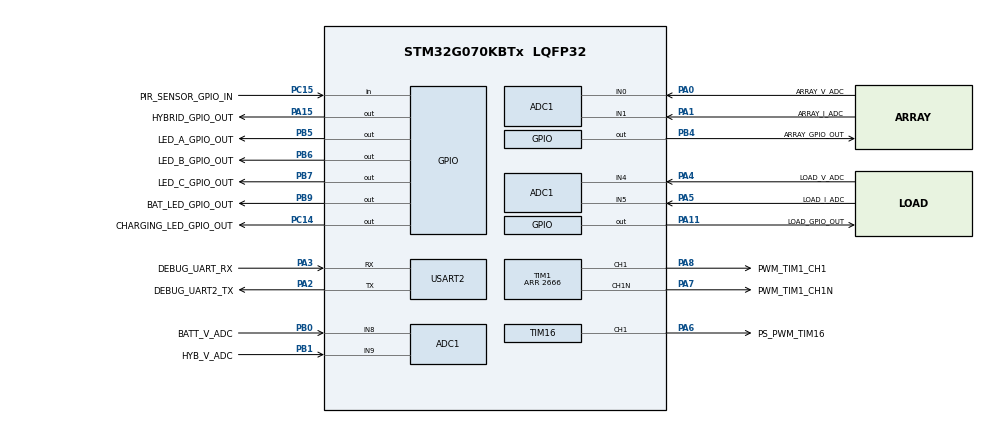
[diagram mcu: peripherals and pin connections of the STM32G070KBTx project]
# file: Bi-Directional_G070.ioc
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ADC1.ClockPrescaler=ADC_CLOCK_SYNC_PCLK_DIV4
ADC1.DMAContinuousRequests=ENABLE
ADC1.ExternalTrigConv=ADC_EXTERNALTRIG_T3_TRGO
ADC1.NbrOfConversion=1
ADC1.NbrOfConversionFlag=0
ADC1.SamplingTimeCommon1=ADC_SAMPLETIME_39CYCLES_5
ADC1.SelectedChannel=ADC_CHANNEL_0|ADC_CHANNEL_1|ADC_CHANNEL_4|ADC_CHANNEL_5|ADC_CHANNEL_8|ADC_CHANNEL_9
ADC1.Sequencer=NOT_FULLY_CONFIGURABLE
ADC1.master=1
Dma.ADC1.2.Direction=DMA_PERIPH_TO_MEMORY
Dma.ADC1.2.EventEnable=DISABLE
Dma.ADC1.2.Instance=DMA1_Channel3
Dma.ADC1.2.MemDataAlignment=DMA_MDATAALIGN_HALFWORD
Dma.ADC1.2.MemInc=DMA_MINC_ENABLE
Dma.ADC1.2.Mode=DMA_CIRCULAR
Dma.ADC1.2.PeriphDataAlignment=DMA_PDATAALIGN_HALFWORD
Dma.ADC1.2.PeriphInc=DMA_PINC_DISABLE
Dma.ADC1.2.Polarity=HAL_DMAMUX_REQ_GEN_RISING
Dma.ADC1.2.Priority=DMA_PRIORITY_LOW
Dma.ADC1.2.RequestNumber=1
Dma.ADC1.2.SignalID=NONE
Dma.ADC1.2.SyncEnable=DISABLE
Dma.ADC1.2.SyncPolarity=HAL_DMAMUX_SYNC_NO_EVENT
Dma.ADC1.2.SyncRequestNumber=1
Dma.ADC1.2.SyncSignalID=NONE
Dma.Request0=USART2_RX
Dma.Request1=USART2_TX
Dma.Request2=ADC1
Dma.USART2_RX.0.Direction=DMA_PERIPH_TO_MEMORY
Dma.USART2_RX.0.EventEnable=DISABLE
Dma.USART2_RX.0.Instance=DMA1_Channel1
Dma.USART2_RX.0.MemDataAlignment=DMA_MDATAALIGN_BYTE
Dma.USART2_RX.0.MemInc=DMA_MINC_ENABLE
Dma.USART2_RX.0.Mode=DMA_CIRCULAR
Dma.USART2_RX.0.PeriphDataAlignment=DMA_PDATAALIGN_BYTE
Dma.USART2_RX.0.PeriphInc=DMA_PINC_DISABLE
Dma.USART2_RX.0.Polarity=HAL_DMAMUX_REQ_GEN_RISING
Dma.USART2_RX.0.Priority=DMA_PRIORITY_LOW
Dma.USART2_RX.0.RequestNumber=1
Dma.USART2_RX.0.SignalID=NONE
Dma.USART2_RX.0.SyncEnable=DISABLE
Dma.USART2_RX.0.SyncPolarity=HAL_DMAMUX_SYNC_NO_EVENT
Dma.USART2_RX.0.SyncRequestNumber=1
Dma.USART2_RX.0.SyncSignalID=NONE
Dma.USART2_TX.1.Direction=DMA_MEMORY_TO_PERIPH
Dma.USART2_TX.1.EventEnable=DISABLE
Dma.USART2_TX.1.Instance=DMA1_Channel2
Dma.USART2_TX.1.MemDataAlignment=DMA_MDATAALIGN_BYTE
Dma.USART2_TX.1.MemInc=DMA_MINC_ENABLE
Dma.USART2_TX.1.Mode=DMA_NORMAL
Dma.USART2_TX.1.PeriphDataAlignment=DMA_PDATAALIGN_BYTE
Dma.USART2_TX.1.PeriphInc=DMA_PINC_DISABLE
Dma.USART2_TX.1.Polarity=HAL_DMAMUX_REQ_GEN_RISING
Dma.USART2_TX.1.Priority=DMA_PRIORITY_LOW
Dma.USART2_TX.1.RequestNumber=1
Dma.USART2_TX.1.SignalID=NONE
Dma.USART2_TX.1.SyncEnable=DISABLE
Dma.USART2_TX.1.SyncPolarity=HAL_DMAMUX_SYNC_NO_EVENT
Dma.USART2_TX.1.SyncRequestNumber=1
Dma.USART2_TX.1.SyncSignalID=NONE
IWDG.Prescaler=IWDG_PRESCALER_64
Mcu.Family=STM32G0
Mcu.Name=STM32G070KBTx
Mcu.Package=LQFP32
NVIC.DMA1_Channel1_IRQn=true\:1\:0\:true\:false\:true\:false\:true\:true
NVIC.DMA1_Channel2_3_IRQn=true\:2\:0\:true\:false\:true\:false\:true\:true
PA0.GPIO_Label=ARRAY_V_ADC
PA0.Mode=IN0
PA0.Signal=ADC1_IN0
PA1.GPIO_Label=ARRAY_I_ADC
PA1.Mode=IN1
PA1.Signal=ADC1_IN1
PA11\ [PA9].GPIO_Label=LOAD_GPIO_OUT
PA11\ [PA9].PinState=GPIO_PIN_SET
PA11\ [PA9].Signal=GPIO_Output
PA15.GPIO_Label=HYBRID_GPIO_OUT
PA15.PinState=GPIO_PIN_SET
PA15.Signal=GPIO_Output
PA2.GPIO_Label=DEBUG_UART2_TX
PA2.Mode=Asynchronous
PA2.Signal=USART2_TX
PA3.GPIO_Label=DEBUG_UART_RX
PA3.Mode=Asynchronous
PA3.Signal=USART2_RX
PA4.GPIO_Label=LOAD_V_ADC
PA4.Mode=IN4
PA4.Signal=ADC1_IN4
PA5.GPIO_Label=LOAD_I_ADC
PA5.Mode=IN5
PA5.Signal=ADC1_IN5
PA6.GPIO_Label=PS_PWM_TIM16
PA6.Signal=S_TIM16_CH1
PA7.GPIO_Label=PWM_TIM1_CH1N
PA7.Mode=PWM Generation1 CH1 CH1N
PA7.Signal=TIM1_CH1N
PA8.GPIO_Label=PWM_TIM1_CH1
PA8.Signal=S_TIM1_CH1
PB0.GPIO_Label=BATT_V_ADC
PB0.Mode=IN8
PB0.Signal=ADC1_IN8
PB1.GPIO_Label=HYB_V_ADC
PB1.Mode=IN9
PB1.Signal=ADC1_IN9
PB4.GPIO_Label=ARRAY_GPIO_OUT
PB4.PinState=GPIO_PIN_SET
PB4.Signal=GPIO_Output
PB5.GPIO_Label=LED_A_GPIO_OUT
PB5.PinState=GPIO_PIN_SET
PB5.Signal=GPIO_Output
PB6.GPIO_Label=LED_B_GPIO_OUT
PB6.PinState=GPIO_PIN_SET
PB6.Signal=GPIO_Output
PB7.GPIO_Label=LED_C_GPIO_OUT
PB7.PinState=GPIO_PIN_SET
PB7.Signal=GPIO_Output
PB9.GPIO_Label=BAT_LED_GPIO_OUT
PB9.PinState=GPIO_PIN_SET
PB9.Signal=GPIO_Output
PC14-OSC32_IN\ (PC14).GPIO_Label=CHARGING_LED_GPIO_OUT
PC14-OSC32_IN\ (PC14).PinState=GPIO_PIN_SET
PC14-OSC32_IN\ (PC14).Signal=GPIO_Output
PC15-OSC32_OUT\ (PC15).GPIO_Label=PIR_SENSOR_GPIO_IN
PC15-OSC32_OUT\ (PC15).GPIO_PuPd=GPIO_PULLDOWN
PC15-OSC32_OUT\ (PC15).Signal=GPIO_Input
ProjectManager.HeapSize=0x200
ProjectManager.StackSize=0x400
ProjectManager.TargetToolchain=CMake
RCC.ADCFreq_Value=64000000
RCC.AHBFreq_Value=64000000
RCC.CortexFreq_Value=64000000
RCC.EXTERNAL_CLOCK_VALUE=48000
RCC.HCLKFreq_Value=64000000
RCC.HSE_VALUE=8000000
RCC.HSI_VALUE=16000000
RCC.LSE_VALUE=32768
RCC.SYSCLKFreq_VALUE=64000000
RCC.SYSCLKSource=RCC_SYSCLKSOURCE_PLLCLK
RCC.VCOOutputFreq_Value=128000000
SH.S_TIM16_CH1.0=TIM16_CH1,PWM Generation1 CH1
SH.S_TIM1_CH1.0=TIM1_CH1,PWM Generation1 CH1 CH1N
TIM1.AutoReloadPreload=TIM_AUTORELOAD_PRELOAD_ENABLE
TIM1.AutomaticOutput=TIM_AUTOMATICOUTPUT_ENABLE
TIM1.Break2Polarity=TIM_BREAK2POLARITY_HIGH
TIM1.Break2State=TIM_BREAK2_ENABLE
TIM1.BreakState=TIM_BREAK_ENABLE
TIM1.Channel-PWM\ Generation1\ CH1\ CH1N=TIM_CHANNEL_1
TIM1.DeadTime=83
TIM1.Period=2666
TIM16.AutoReloadPreload=TIM_AUTORELOAD_PRELOAD_ENABLE
TIM16.AutomaticOutput=TIM_AUTOMATICOUTPUT_ENABLE
TIM16.BreakState=TIM_BREAK_ENABLE
TIM16.Channel=TIM_CHANNEL_1
TIM16.Period=1599
TIM3.AutoReloadPreload=TIM_AUTORELOAD_PRELOAD_ENABLE
TIM3.Channel-Output\ Compare1\ No\ Output=TIM_CHANNEL_1
TIM3.Period=6400
TIM3.TIM_MasterOutputTrigger=TIM_TRGO_UPDATE
USART2.VirtualMode-Asynchronous=VM_ASYNC
VP_IWDG_VS_IWDG.Mode=IWDG_Activate
VP_SYS_VS_DBSignals.Mode=DisableDeadBatterySignals
VP_TIM16_VS_ClockSourceINT.Mode=Enable_Timer
VP_TIM3_VS_no_output1.Mode=Output Compare1 No Output
board=custom

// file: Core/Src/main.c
/* USER CODE BEGIN Header */
/**
  ******************************************************************************
  * @file           : main.c
  * @brief          : Main program body
  ******************************************************************************
  * @attention
  * Auther : This is the testing of new code.
  * <h2><center>&copy; Copyright (c) 2026 STMicroelectronics.
  * All rights reserved.</center></h2>
  *
  * This software component is licensed by ST under BSD 3-Clause license,
  * the "License"; You may not use this file except in compliance with the
  * License. You may obtain a copy of the License at:
  *                        opensource.org/licenses/BSD-3-Clause
  *
  ******************************************************************************
  */
/* USER CODE END Header */
#include "main.h"
#include "adc.h"
#include "dma.h"
#include "iwdg.h"
#include "tim.h"
#include "usart.h"
#include "gpio.h"

/* USER CODE BEGIN PD */
#define ADC_NUM_CH          6U
#define ADC_AVG_SAMPLES     16U
#define MPPT_INTERVAL_MS    100U

/* TIM1 ARR = 2666; limits keep duty between 5 % and 95 % */
#define PWM_DUTY_MIN        134U
#define PWM_DUTY_MAX        2533U
#define PWM_DUTY_STEP       27U     /* ~1 % perturbation per MPPT iteration */

/* ADC reference and full-scale */
#define VREF_MV             3300U
#define ADC_MAX             4095U

/*
 * Hardware scaling — MUST be calibrated to your actual circuit:
 *
 *   Voltage pins use a resistor divider: Vreal = Vadc_mv * SCALE
 *     ARRAY_V_SCALE 10  ->  10 kOhm + 100 kOhm divider (Vadc = Vreal / 10)
 *     BATT_V_SCALE  5   ->  10 kOhm + 47  kOhm divider (Vadc = Vreal / 5)
 *
 *   Current pins: Ireal_ma = Vadc_mv * 1000 / I_MV_PER_A
 *     500 mV/A  ->  e.g. 0.1 Ohm shunt + 5 V/V gain
 */
#define ARRAY_V_SCALE       10U
#define BATT_V_SCALE        5U
#define LOAD_V_SCALE        5U
#define ARRAY_I_MV_PER_A    500U
#define LOAD_I_MV_PER_A     500U

/* Battery protection thresholds (mV) -- defaults for 12 V lead-acid */
#define BATT_OVP_MV         14400U
#define BATT_UVP_MV         11000U
/* USER CODE END PD */

/* USER CODE BEGIN PV */
/* DMA circular buffer: 16 complete scans x 6 channels = 96 samples */
volatile uint16_t adc_dma_buf[ADC_NUM_CH * ADC_AVG_SAMPLES];
extern volatile uint32_t tick_ms;  /* incremented by SysTick_Handler in stm32g0xx_it.c */
/* USER CODE END PV */

void SystemClock_Config(void);

/* USER CODE BEGIN 0 */

/* Average one ADC channel across all samples in the circular DMA buffer.
 * Channel indices follow fixed forward-scan order:
 *   0=ARRAY_V  1=ARRAY_I  2=LOAD_V  3=LOAD_I  4=BATT_V  5=HYB_V        */
static uint32_t adc_avg(uint8_t ch)
{
    uint32_t sum = 0;
    for (uint8_t i = 0; i < ADC_AVG_SAMPLES; i++)
        sum += adc_dma_buf[(uint16_t)i * ADC_NUM_CH + ch];
    return sum / ADC_AVG_SAMPLES;
}

static uint32_t raw_to_mv(uint32_t raw)
{
    return (raw * VREF_MV + ADC_MAX / 2U) / ADC_MAX;
}

static void pwm_set_duty(int32_t duty)
{
    if (duty > (int32_t)PWM_DUTY_MAX) duty = (int32_t)PWM_DUTY_MAX;
    if (duty < (int32_t)PWM_DUTY_MIN) duty = (int32_t)PWM_DUTY_MIN;
    LL_TIM_OC_SetCompareCH1(TIM1, (uint32_t)duty);
}

/*
 * Perturb-and-Observe MPPT -- call every MPPT_INTERVAL_MS.
 *
 * Controls TIM1 CH1/CH1N duty cycle to maximise P = V_array x I_array.
 * Battery OVP overrides MPPT and reduces duty; UVP disconnects the load.
 */
static void mppt_run(void)
{
    static uint32_t prev_power = 0;
    static int8_t   direction  = 1;

    uint32_t array_v_mv = raw_to_mv(adc_avg(0)) * ARRAY_V_SCALE;
    uint32_t array_i_ma = raw_to_mv(adc_avg(1)) * 1000U / ARRAY_I_MV_PER_A;
    uint32_t batt_v_mv  = raw_to_mv(adc_avg(4)) * BATT_V_SCALE;

    /* Battery overvoltage: reduce duty to lower charge current */
    if (batt_v_mv >= BATT_OVP_MV)
    {
        pwm_set_duty((int32_t)LL_TIM_OC_GetCompareCH1(TIM1) - (int32_t)PWM_DUTY_STEP);
        prev_power = 0;
        return;
    }

    /* Battery undervoltage: disconnect load to protect battery */
    if (batt_v_mv <= BATT_UVP_MV)
        LL_GPIO_ResetOutputPin(LOAD_GPIO_OUT_GPIO_Port, LOAD_GPIO_OUT_Pin);
    else
        LL_GPIO_SetOutputPin(LOAD_GPIO_OUT_GPIO_Port, LOAD_GPIO_OUT_Pin);

    /* Power in units of 100 uW -- safe for uint32_t up to ~430 W */
    uint32_t power = (array_v_mv / 10U) * (array_i_ma / 10U);
    int32_t  duty  = (int32_t)LL_TIM_OC_GetCompareCH1(TIM1);

    if (power >= prev_power)
        duty += (int32_t)direction * (int32_t)PWM_DUTY_STEP;
    else
    {
        direction = -direction;
        duty += (int32_t)direction * (int32_t)PWM_DUTY_STEP;
    }

    pwm_set_duty(duty);
    prev_power = power;
}

/* USER CODE END 0 */

int main(void)
{

  /* MCU Configuration--------------------------------------------------------*/

  /* Reset of all peripherals, Initializes the Flash interface and the Systick. */
  LL_APB2_GRP1_EnableClock(LL_APB2_GRP1_PERIPH_SYSCFG);
  LL_APB1_GRP1_EnableClock(LL_APB1_GRP1_PERIPH_PWR);

  /* SysTick_IRQn interrupt configuration */
  NVIC_SetPriority(SysTick_IRQn, 3);

  /** Disable the internal Pull-Up in Dead Battery pins of UCPD peripheral
  */
  LL_SYSCFG_DisableDBATT(LL_SYSCFG_UCPD1_STROBE | LL_SYSCFG_UCPD2_STROBE);

  /* Configure the system clock */
  SystemClock_Config();

  /* Initialize all configured peripherals */
  MX_GPIO_Init();
  MX_DMA_Init();
  MX_USART2_UART_Init();
  MX_ADC1_Init();
  MX_IWDG_Init();
  MX_TIM1_Init();
  MX_TIM3_Init();
  MX_TIM16_Init();
  /* USER CODE BEGIN 2 */

  /* Wire DMA channel 3 to ADC1 DR and our averaging buffer */
  LL_DMA_SetMemoryAddress(DMA1, LL_DMA_CHANNEL_3, (uint32_t)adc_dma_buf);
  LL_DMA_SetPeriphAddress(DMA1, LL_DMA_CHANNEL_3,
      LL_ADC_DMA_GetRegAddr(ADC1, LL_ADC_DMA_REG_REGULAR_DATA));
  LL_DMA_SetDataLength(DMA1, LL_DMA_CHANNEL_3, ADC_NUM_CH * ADC_AVG_SAMPLES);
  LL_DMA_EnableChannel(DMA1, LL_DMA_CHANNEL_3);

  /* ADC self-calibration must run before Enable */
  LL_ADC_StartCalibration(ADC1);
  while (LL_ADC_IsCalibrationOnGoing(ADC1)) {}

  LL_ADC_Enable(ADC1);
  while (!LL_ADC_IsActiveFlag_ADRDY(ADC1)) {}
  LL_ADC_REG_StartConversion(ADC1);

  /* TIM3 TRGO triggers ADC at ~10 kHz */
  LL_TIM_EnableCounter(TIM3);

  /* TIM1: start complementary half-bridge PWM at minimum duty */
  pwm_set_duty(PWM_DUTY_MIN);
  LL_TIM_CC_EnableChannel(TIM1, LL_TIM_CHANNEL_CH1 | LL_TIM_CHANNEL_CH1N);
  LL_TIM_EnableAllOutputs(TIM1);
  LL_TIM_EnableCounter(TIM1);

  /* Enable solar array input relay/switch */
  LL_GPIO_SetOutputPin(ARRAY_GPIO_OUT_GPIO_Port, ARRAY_GPIO_OUT_Pin);

  /* USER CODE END 2 */

  /* Infinite loop */
  /* USER CODE BEGIN WHILE */
  uint32_t last_mppt_ms = 0U;
  while (1)
  {
    /* USER CODE END WHILE */

    /* USER CODE BEGIN 3 */
    uint32_t now = tick_ms;
    if ((now - last_mppt_ms) >= MPPT_INTERVAL_MS)
    {
      last_mppt_ms = now;
      mppt_run();
    }
    LL_IWDG_ReloadCounter(IWDG);
  }
  /* USER CODE END 3 */
}

void SystemClock_Config(void)
{
  LL_FLASH_SetLatency(LL_FLASH_LATENCY_2);
  while(LL_FLASH_GetLatency() != LL_FLASH_LATENCY_2)
  {
  }

  /* HSI configuration and activation */
  LL_RCC_HSI_Enable();
  while(LL_RCC_HSI_IsReady() != 1)
  {
  }

  /* LSI configuration and activation */
  LL_RCC_LSI_Enable();
  while(LL_RCC_LSI_IsReady() != 1)
  {
  }

  /* Main PLL configuration and activation */
  LL_RCC_PLL_ConfigDomain_SYS(LL_RCC_PLLSOURCE_HSI, LL_RCC_PLLM_DIV_1, 8, LL_RCC_PLLR_DIV_2);
  LL_RCC_PLL_Enable();
  LL_RCC_PLL_EnableDomain_SYS();
  while(LL_RCC_PLL_IsReady() != 1)
  {
  }

  /* Set AHB prescaler*/
  LL_RCC_SetAHBPrescaler(LL_RCC_SYSCLK_DIV_1);

  /* Sysclk activation on the main PLL */
  LL_RCC_SetSysClkSource(LL_RCC_SYS_CLKSOURCE_PLL);
  while(LL_RCC_GetSysClkSource() != LL_RCC_SYS_CLKSOURCE_STATUS_PLL)
  {
  }

  /* Set APB1 prescaler*/
  LL_RCC_SetAPB1Prescaler(LL_RCC_APB1_DIV_1);
  LL_Init1msTick(64000000);
  /* Update CMSIS variable (which can be updated also through SystemCoreClockUpdate function) */
  LL_SetSystemCoreClock(64000000);
}

void Error_Handler(void)
{
}
